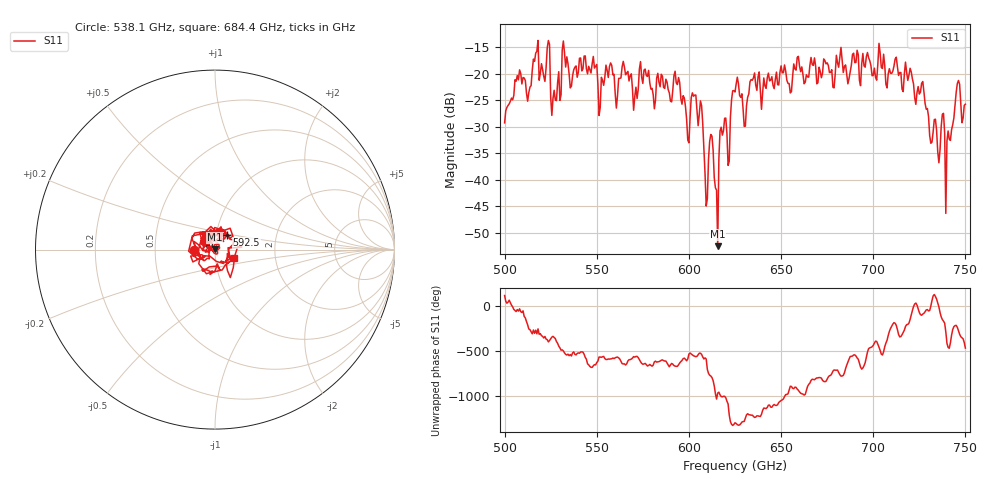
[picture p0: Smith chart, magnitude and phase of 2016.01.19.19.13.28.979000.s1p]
!Created with skrf (http://scikit-rf.org).
# GHz S RI R 50.0
!freq ReS11 ImS11
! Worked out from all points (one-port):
!   401 points, 500 GHz to 750 GHz, reference 50 ohm
!   lowest |S11| = -52.5 dB at 615.6 GHz (marker M1), VSWR 1.00, Z = 49.9 + j0.222 ohm
!   |S11| at or under -10 dB: start of sweep to end of sweep
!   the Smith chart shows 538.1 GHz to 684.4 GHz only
!   S11 on the Smith chart (normalised r, x): 538.1 GHz: 0.79, -0.01; 592.5 GHz: 1.13, +0.19; 684.4 GHz: 1.23, -0.12
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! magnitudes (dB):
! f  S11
! 500 GHz  -29.2
! 513.1 GHz  -23.5
! 516.9 GHz  -16.1
! 523.1 GHz  -15.1
! 526.9 GHz  -23.1
! 531.2 GHz  -15.5
! 538.1 GHz  -18.8
! 562.5 GHz  -20.9
! 592.5 GHz  -19.5
! 593.8 GHz  -22.0
! 599.4 GHz  -32.5
! 603.1 GHz  -24.0
! 606.9 GHz  -26.0
! 609.4 GHz  -44.9
! 611.9 GHz  -31.4
! 615.6 GHz  -52.5
! 618.1 GHz  -31.6
! 621.9 GHz  -36.5
! 625 GHz  -23.4
! 630.6 GHz  -29.9
! 634.4 GHz  -21.2
! 656.2 GHz  -20.5
! 684.4 GHz  -18.6
! 687.5 GHz  -19.6
! 718.8 GHz  -21.2
! 740.6 GHz  -30.8
! 745.6 GHz  -21.8
! 750 GHz  -25.7
